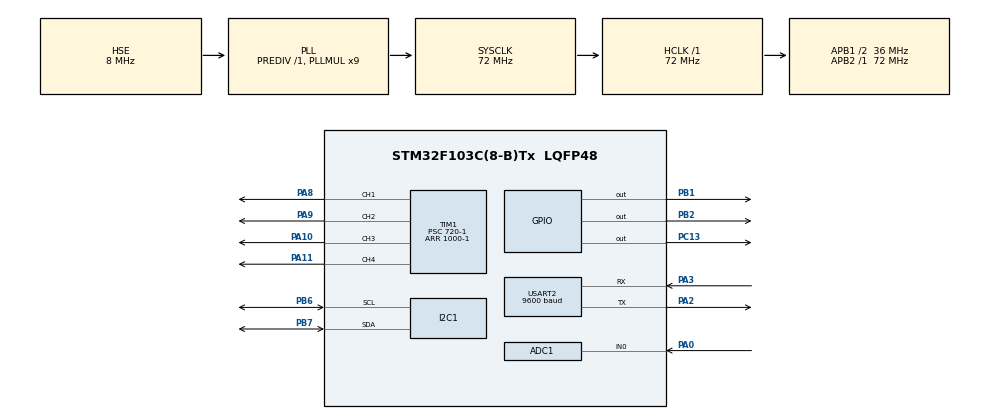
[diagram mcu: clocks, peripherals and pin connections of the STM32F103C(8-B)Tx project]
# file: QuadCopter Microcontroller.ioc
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ADC1.Channel-0\#ChannelRegularConversion=ADC_CHANNEL_0
ADC1.NbrOfConversionFlag=1
ADC1.Rank-0\#ChannelRegularConversion=1
ADC1.SamplingTime-0\#ChannelRegularConversion=ADC_SAMPLETIME_1CYCLE_5
ADC1.master=1
Mcu.Family=STM32F1
Mcu.Name=STM32F103C(8-B)Tx
Mcu.Package=LQFP48
NVIC.ADC1_2_IRQn=true\:0\:0\:false\:false\:true\:true\:true\:true
NVIC.PriorityGroup=NVIC_PRIORITYGROUP_4
NVIC.USART2_IRQn=true\:0\:0\:false\:false\:true\:true\:true\:true
PA0-WKUP.Signal=ADCx_IN0
PA10.Signal=S_TIM1_CH3
PA11.Signal=S_TIM1_CH4
PA2.Mode=Asynchronous
PA2.Signal=USART2_TX
PA3.Mode=Asynchronous
PA3.Signal=USART2_RX
PA8.Signal=S_TIM1_CH1
PA9.Signal=S_TIM1_CH2
PB1.Signal=GPIO_Output
PB2.Signal=GPIO_Output
PB6.Mode=I2C
PB6.Signal=I2C1_SCL
PB7.Mode=I2C
PB7.Signal=I2C1_SDA
PC13-TAMPER-RTC.Signal=GPIO_Output
PD0-OSC_IN.Mode=HSE-External-Oscillator
PD0-OSC_IN.Signal=RCC_OSC_IN
PD1-OSC_OUT.Mode=HSE-External-Oscillator
PD1-OSC_OUT.Signal=RCC_OSC_OUT
ProjectManager.HeapSize=0x200
ProjectManager.StackSize=0x400
ProjectManager.TargetToolchain=MDK-ARM V5.32
RCC.ADCPresc=RCC_ADCPCLK2_DIV6
RCC.AHBFreq_Value=72000000
RCC.APB1CLKDivider=RCC_HCLK_DIV2
RCC.APB1Freq_Value=36000000
RCC.APB1TimFreq_Value=72000000
RCC.APB2Freq_Value=72000000
RCC.APB2TimFreq_Value=72000000
RCC.HCLKFreq_Value=72000000
RCC.PLLMUL=RCC_PLL_MUL9
RCC.PLLSourceVirtual=RCC_PLLSOURCE_HSE
RCC.SYSCLKFreq_VALUE=72000000
RCC.SYSCLKSource=RCC_SYSCLKSOURCE_PLLCLK
RCC.USBFreq_Value=72000000
SH.ADCx_IN0.0=ADC1_IN0,IN0
SH.S_TIM1_CH1.0=TIM1_CH1,PWM Generation1 CH1
SH.S_TIM1_CH2.0=TIM1_CH2,PWM Generation2 CH2
SH.S_TIM1_CH3.0=TIM1_CH3,Output Compare3 CH3
SH.S_TIM1_CH4.0=TIM1_CH4,Output Compare4 CH4
TIM1.Channel-Output\ Compare3\ CH3=TIM_CHANNEL_3
TIM1.Channel-Output\ Compare4\ CH4=TIM_CHANNEL_4
TIM1.Channel-PWM\ Generation1\ CH1=TIM_CHANNEL_1
TIM1.Channel-PWM\ Generation2\ CH2=TIM_CHANNEL_2
TIM1.Period=1000-1
TIM1.Prescaler=720-1
USART2.BaudRate=9600
USART2.VirtualMode=VM_ASYNC
VP_SYS_VS_ND.Mode=No_Debug
VP_TIM1_VS_ClockSourceINT.Mode=Internal
board=custom

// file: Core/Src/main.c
/* USER CODE BEGIN Header */
/**
  ******************************************************************************
  * @file           : main.c
  * @brief          : Main program body
  ******************************************************************************
  * @attention
  *
  * Copyright (c) 2023 STMicroelectronics.
  * All rights reserved.
  *
  * This software is licensed under terms that can be found in the LICENSE file
  * in the root directory of this software component.
  * If no LICENSE file comes with this software, it is provided AS-IS.
  *
  ******************************************************************************
  */
/* USER CODE END Header */
#include "main.h"

/* USER CODE BEGIN Includes */
#include <math.h>
/* USER CODE END Includes */

ADC_HandleTypeDef hadc1;

I2C_HandleTypeDef hi2c1;

TIM_HandleTypeDef htim1;

UART_HandleTypeDef huart2;

void SystemClock_Config(void);
static void MX_GPIO_Init(void);
static void MX_ADC1_Init(void);
static void MX_I2C1_Init(void);
static void MX_TIM1_Init(void);
static void MX_USART2_UART_Init(void);
/* USER CODE BEGIN PFP */
void MPU6050_init(void);
void MPU_GYRO_READ(void);
void MPU_ACCEL_READ(void);
/* USER CODE END PFP */

/* USER CODE BEGIN 0 */

//POWER CONNECTION TEST
int adc_val = 0;
int Power_check = 0;
void HAL_ADC_ConvCpltCallback(ADC_HandleTypeDef* hadc)
{
  adc_val = HAL_ADC_GetValue(&hadc1);
	if (adc_val > 3000){
		Power_check = 1;
	} else{
		Power_check =0;
	}
}

//CONNECTION TO MPU6050
#define MPU6050_ADDR 0xD0
#define SMPLRT_DIV_REG 0x19
#define GYRO_CONFIG_REG 0x1B
#define ACCEL_CONFIG_REG 0x1C
#define ACCEL_XOUT_H_REG 0x3B
#define TEMP_OUT_H_REG 0x41
#define GYRO_XOUT_H_REG 0x43
#define PWR_MGMT_1_REG 0x6B
#define WHO_AM_I_REG 0x75
int16_t Accel_X_RAW = 0;
int16_t Accel_Y_RAW = 0;
int16_t Accel_Z_RAW = 0;
int16_t Gyro_X_RAW = 0;
int16_t Gyro_Y_RAW = 0;
int16_t Gyro_Z_RAW = 0;
float Ax, Ay, Az, Gx, Gy, Gz;
int D1,D2;
float complementary_factor = 0.98;
float time_interval = 0.01;
float pitch = 0;
float roll = 0;
float yaw = 0;
void MPU6050_Init (void)
{
	uint8_t check;
	uint8_t Data;
	HAL_I2C_Mem_Read (&hi2c1, MPU6050_ADDR,WHO_AM_I_REG,1, &check, 1, 1000);
	if (check == 104)
	{
		Data = 0;
		HAL_I2C_Mem_Write(&hi2c1, MPU6050_ADDR, PWR_MGMT_1_REG, 1,&Data, 1, 1000);
		Data = 0x07;
		HAL_I2C_Mem_Write(&hi2c1, MPU6050_ADDR, SMPLRT_DIV_REG, 1, &Data, 1, 1000);
		Data = 0x00;
		HAL_I2C_Mem_Write(&hi2c1, MPU6050_ADDR, ACCEL_CONFIG_REG, 1, &Data, 1, 1000);
		Data = 0x00;
		HAL_I2C_Mem_Write(&hi2c1, MPU6050_ADDR, GYRO_CONFIG_REG, 1, &Data, 1, 1000);
	}

}

//EXTRACTING DATA FROM MPU6050
void MPU6050_Read_Accel (void)
{
	uint8_t Rec_Data[6];
	HAL_I2C_Mem_Read (&hi2c1, MPU6050_ADDR, ACCEL_XOUT_H_REG, 1, Rec_Data, 6, 1000);
	Accel_X_RAW = (int16_t)(Rec_Data[0] << 8 | Rec_Data [1]);
	Accel_Y_RAW = (int16_t)(Rec_Data[2] << 8 | Rec_Data [3]);
	Accel_Z_RAW = (int16_t)(Rec_Data[4] << 8 | Rec_Data [5]);
	Ax = (Accel_X_RAW/16384.0);
	Ay = (Accel_Y_RAW/16384.0);
	Az = (Accel_Z_RAW/16384.0);
	//DEFINING DUTY CYCLES BASED ON MPU6050 DATA
	D1 = (int)(Ax*100);
	D2 = (int)(Ay*100);
}
void MPU6050_Read_Gyro (void)
{
	uint8_t Rec_Data[6];
	HAL_I2C_Mem_Read (&hi2c1, MPU6050_ADDR, GYRO_XOUT_H_REG, 1, Rec_Data, 6, 1000);
	Gyro_X_RAW = (int16_t)(Rec_Data[0] << 8 | Rec_Data [1]);
	Gyro_Y_RAW = (int16_t)(Rec_Data[2] << 8 | Rec_Data [3]);
	Gyro_Z_RAW = (int16_t)(Rec_Data[4] << 8 | Rec_Data [5]);
	Gx = Gyro_X_RAW/131.0;
	Gy = Gyro_Y_RAW/131.0;
	Gz = Gyro_Z_RAW/131.0;
}

//UART CONNECTION USING USB2TTL AND HTERM
unsigned char CMD;
int CMD_flag=3;
void HAL_UART_RxCpltCallback(UART_HandleTypeDef *huart){
	while(!Power_check);
	switch(CMD){
		case 'a':
			CMD_flag=1;
		break;
		case 'b':
			CMD_flag=0;
		break;
		case 'c':
			CMD_flag=3;
		break;
	}
	HAL_UART_Receive_IT(&huart2,&CMD,1);
}

//WORKING WITH TIMER
int i = 0;
void HAL_TIM_PeriodElapsedCallback(TIM_HandleTypeDef *htim)
{
		while(!Power_check);
		i++;
		if(i==1000){
			if (htim->Instance == TIM1)
			{
				switch(CMD_flag){
					case 3:
						HAL_GPIO_WritePin(GPIOB,GPIO_PIN_2,GPIO_PIN_RESET);
						HAL_GPIO_WritePin(GPIOB,GPIO_PIN_1,GPIO_PIN_RESET);
					break;
					case 1:
						HAL_GPIO_TogglePin(GPIOB,GPIO_PIN_2);
						HAL_GPIO_WritePin(GPIOB,GPIO_PIN_1,GPIO_PIN_RESET);
						break;
					case 0:
						HAL_GPIO_TogglePin(GPIOB,GPIO_PIN_1);
						HAL_GPIO_WritePin(GPIOB,GPIO_PIN_2,GPIO_PIN_RESET);
					break;
					}
			}
			i = 0;
		}
}
/* USER CODE END 0 */

int main(void)
{

  /* MCU Configuration--------------------------------------------------------*/

  /* Reset of all peripherals, Initializes the Flash interface and the Systick. */
  HAL_Init();

  /* Configure the system clock */
  SystemClock_Config();

  /* Initialize all configured peripherals */
  MX_GPIO_Init();
  MX_ADC1_Init();
  MX_I2C1_Init();
  MX_TIM1_Init();
  MX_USART2_UART_Init();
  /* USER CODE BEGIN 2 */
	HAL_UART_Receive_IT(&huart2,&CMD,1);
	HAL_TIM_Base_Start_IT(&htim1);
	HAL_TIM_PWM_Start(&htim1,TIM_CHANNEL_1);
	HAL_TIM_PWM_Start(&htim1,TIM_CHANNEL_2);
	HAL_TIM_PWM_Start(&htim1,TIM_CHANNEL_3);
	HAL_TIM_PWM_Start(&htim1,TIM_CHANNEL_4);
	MPU6050_Init();
  /* USER CODE END 2 */

  /* Infinite loop */
  while (1)
  {

    /* USER CODE BEGIN 3 */

		HAL_ADC_Start_IT(&hadc1);
			while(!Power_check);
			HAL_ADC_Start_IT (&hadc1);
			MPU6050_Read_Gyro();
			MPU6050_Read_Accel();
			if(D1>=0){
				TIM1->CCR1 = D1;
				TIM1->CCR2 = 0;
			} else{
				TIM1->CCR1 = 0;
				TIM1->CCR2 = -D1;
			}
			if(D2>=0){
				TIM1->CCR3 = D2;
				TIM1->CCR4 = 0;
			} else{
				TIM1->CCR3 = 0;
				TIM1->CCR4 = -D2;
			}

			// CALCULATING PITCH,ROLL AND YAW
//			pitch = atan2f(-Ax, sqrtf(Ay*Ay + Az*Az));
//			roll = atan2f(Ay, Az);
//			pitch = complementary_factor * (pitch + Gx * time_interval) + (1 - complementary_factor) * atan2f(-Ax, sqrtf(Ay*Ay + Az*Az));
//			roll = complementary_factor * (roll + Gy * time_interval) + (1 - complementary_factor) * atan2f(Ay, Az);
//			yaw = yaw + Gz * time_interval;

	}
  /* USER CODE END 3 */
}

void SystemClock_Config(void)
{
  RCC_OscInitTypeDef RCC_OscInitStruct = {0};
  RCC_ClkInitTypeDef RCC_ClkInitStruct = {0};
  RCC_PeriphCLKInitTypeDef PeriphClkInit = {0};

  /** Initializes the RCC Oscillators according to the specified parameters
  * in the RCC_OscInitTypeDef structure.
  */
  RCC_OscInitStruct.OscillatorType = RCC_OSCILLATORTYPE_HSE;
  RCC_OscInitStruct.HSEState = RCC_HSE_ON;
  RCC_OscInitStruct.HSEPredivValue = RCC_HSE_PREDIV_DIV1;
  RCC_OscInitStruct.HSIState = RCC_HSI_ON;
  RCC_OscInitStruct.PLL.PLLState = RCC_PLL_ON;
  RCC_OscInitStruct.PLL.PLLSource = RCC_PLLSOURCE_HSE;
  RCC_OscInitStruct.PLL.PLLMUL = RCC_PLL_MUL9;
  if (HAL_RCC_OscConfig(&RCC_OscInitStruct) != HAL_OK)
  {
    Error_Handler();
  }

  /** Initializes the CPU, AHB and APB buses clocks
  */
  RCC_ClkInitStruct.ClockType = RCC_CLOCKTYPE_HCLK|RCC_CLOCKTYPE_SYSCLK
                              |RCC_CLOCKTYPE_PCLK1|RCC_CLOCKTYPE_PCLK2;
  RCC_ClkInitStruct.SYSCLKSource = RCC_SYSCLKSOURCE_PLLCLK;
  RCC_ClkInitStruct.AHBCLKDivider = RCC_SYSCLK_DIV1;
  RCC_ClkInitStruct.APB1CLKDivider = RCC_HCLK_DIV2;
  RCC_ClkInitStruct.APB2CLKDivider = RCC_HCLK_DIV1;

  if (HAL_RCC_ClockConfig(&RCC_ClkInitStruct, FLASH_LATENCY_2) != HAL_OK)
  {
    Error_Handler();
  }
  PeriphClkInit.PeriphClockSelection = RCC_PERIPHCLK_ADC;
  PeriphClkInit.AdcClockSelection = RCC_ADCPCLK2_DIV6;
  if (HAL_RCCEx_PeriphCLKConfig(&PeriphClkInit) != HAL_OK)
  {
    Error_Handler();
  }
}

static void MX_ADC1_Init(void)
{

  ADC_ChannelConfTypeDef sConfig = {0};

  /** Common config
  */
  hadc1.Instance = ADC1;
  hadc1.Init.ScanConvMode = ADC_SCAN_DISABLE;
  hadc1.Init.ContinuousConvMode = DISABLE;
  hadc1.Init.DiscontinuousConvMode = DISABLE;
  hadc1.Init.ExternalTrigConv = ADC_SOFTWARE_START;
  hadc1.Init.DataAlign = ADC_DATAALIGN_RIGHT;
  hadc1.Init.NbrOfConversion = 1;
  if (HAL_ADC_Init(&hadc1) != HAL_OK)
  {
    Error_Handler();
  }

  /** Configure Regular Channel
  */
  sConfig.Channel = ADC_CHANNEL_0;
  sConfig.Rank = ADC_REGULAR_RANK_1;
  sConfig.SamplingTime = ADC_SAMPLETIME_1CYCLE_5;
  if (HAL_ADC_ConfigChannel(&hadc1, &sConfig) != HAL_OK)
  {
    Error_Handler();
  }

}

static void MX_I2C1_Init(void)
{

  hi2c1.Instance = I2C1;
  hi2c1.Init.ClockSpeed = 100000;
  hi2c1.Init.DutyCycle = I2C_DUTYCYCLE_2;
  hi2c1.Init.OwnAddress1 = 0;
  hi2c1.Init.AddressingMode = I2C_ADDRESSINGMODE_7BIT;
  hi2c1.Init.DualAddressMode = I2C_DUALADDRESS_DISABLE;
  hi2c1.Init.OwnAddress2 = 0;
  hi2c1.Init.GeneralCallMode = I2C_GENERALCALL_DISABLE;
  hi2c1.Init.NoStretchMode = I2C_NOSTRETCH_DISABLE;
  if (HAL_I2C_Init(&hi2c1) != HAL_OK)
  {
    Error_Handler();
  }

}

static void MX_TIM1_Init(void)
{

  TIM_ClockConfigTypeDef sClockSourceConfig = {0};
  TIM_MasterConfigTypeDef sMasterConfig = {0};
  TIM_OC_InitTypeDef sConfigOC = {0};
  TIM_BreakDeadTimeConfigTypeDef sBreakDeadTimeConfig = {0};

  htim1.Instance = TIM1;
  htim1.Init.Prescaler = 720-1;
  htim1.Init.CounterMode = TIM_COUNTERMODE_UP;
  htim1.Init.Period = 1000-1;
  htim1.Init.ClockDivision = TIM_CLOCKDIVISION_DIV1;
  htim1.Init.RepetitionCounter = 0;
  htim1.Init.AutoReloadPreload = TIM_AUTORELOAD_PRELOAD_DISABLE;
  if (HAL_TIM_Base_Init(&htim1) != HAL_OK)
  {
    Error_Handler();
  }
  sClockSourceConfig.ClockSource = TIM_CLOCKSOURCE_INTERNAL;
  if (HAL_TIM_ConfigClockSource(&htim1, &sClockSourceConfig) != HAL_OK)
  {
    Error_Handler();
  }
  if (HAL_TIM_PWM_Init(&htim1) != HAL_OK)
  {
    Error_Handler();
  }
  if (HAL_TIM_OC_Init(&htim1) != HAL_OK)
  {
    Error_Handler();
  }
  sMasterConfig.MasterOutputTrigger = TIM_TRGO_RESET;
  sMasterConfig.MasterSlaveMode = TIM_MASTERSLAVEMODE_DISABLE;
  if (HAL_TIMEx_MasterConfigSynchronization(&htim1, &sMasterConfig) != HAL_OK)
  {
    Error_Handler();
  }
  sConfigOC.OCMode = TIM_OCMODE_PWM1;
  sConfigOC.Pulse = 0;
  sConfigOC.OCPolarity = TIM_OCPOLARITY_HIGH;
  sConfigOC.OCNPolarity = TIM_OCNPOLARITY_HIGH;
  sConfigOC.OCFastMode = TIM_OCFAST_DISABLE;
  sConfigOC.OCIdleState = TIM_OCIDLESTATE_RESET;
  sConfigOC.OCNIdleState = TIM_OCNIDLESTATE_RESET;
  if (HAL_TIM_PWM_ConfigChannel(&htim1, &sConfigOC, TIM_CHANNEL_1) != HAL_OK)
  {
    Error_Handler();
  }
  if (HAL_TIM_PWM_ConfigChannel(&htim1, &sConfigOC, TIM_CHANNEL_2) != HAL_OK)
  {
    Error_Handler();
  }
  sConfigOC.OCMode = TIM_OCMODE_TIMING;
  if (HAL_TIM_OC_ConfigChannel(&htim1, &sConfigOC, TIM_CHANNEL_3) != HAL_OK)
  {
    Error_Handler();
  }
  if (HAL_TIM_OC_ConfigChannel(&htim1, &sConfigOC, TIM_CHANNEL_4) != HAL_OK)
  {
    Error_Handler();
  }
  sBreakDeadTimeConfig.OffStateRunMode = TIM_OSSR_DISABLE;
  sBreakDeadTimeConfig.OffStateIDLEMode = TIM_OSSI_DISABLE;
  sBreakDeadTimeConfig.LockLevel = TIM_LOCKLEVEL_OFF;
  sBreakDeadTimeConfig.DeadTime = 0;
  sBreakDeadTimeConfig.BreakState = TIM_BREAK_DISABLE;
  sBreakDeadTimeConfig.BreakPolarity = TIM_BREAKPOLARITY_HIGH;
  sBreakDeadTimeConfig.AutomaticOutput = TIM_AUTOMATICOUTPUT_DISABLE;
  if (HAL_TIMEx_ConfigBreakDeadTime(&htim1, &sBreakDeadTimeConfig) != HAL_OK)
  {
    Error_Handler();
  }
  HAL_TIM_MspPostInit(&htim1);

}

static void MX_USART2_UART_Init(void)
{

  huart2.Instance = USART2;
  huart2.Init.BaudRate = 9600;
  huart2.Init.WordLength = UART_WORDLENGTH_8B;
  huart2.Init.StopBits = UART_STOPBITS_1;
  huart2.Init.Parity = UART_PARITY_NONE;
  huart2.Init.Mode = UART_MODE_TX_RX;
  huart2.Init.HwFlowCtl = UART_HWCONTROL_NONE;
  huart2.Init.OverSampling = UART_OVERSAMPLING_16;
  if (HAL_UART_Init(&huart2) != HAL_OK)
  {
    Error_Handler();
  }

}

static void MX_GPIO_Init(void)
{
  GPIO_InitTypeDef GPIO_InitStruct = {0};

  /* GPIO Ports Clock Enable */
  __HAL_RCC_GPIOC_CLK_ENABLE();
  __HAL_RCC_GPIOD_CLK_ENABLE();
  __HAL_RCC_GPIOA_CLK_ENABLE();
  __HAL_RCC_GPIOB_CLK_ENABLE();

  /*Configure GPIO pin Output Level */
  HAL_GPIO_WritePin(GPIOC, GPIO_PIN_13, GPIO_PIN_RESET);

  /*Configure GPIO pin Output Level */
  HAL_GPIO_WritePin(GPIOB, GPIO_PIN_1|GPIO_PIN_2, GPIO_PIN_RESET);

  /*Configure GPIO pin : PC13 */
  GPIO_InitStruct.Pin = GPIO_PIN_13;
  GPIO_InitStruct.Mode = GPIO_MODE_OUTPUT_PP;
  GPIO_InitStruct.Pull = GPIO_NOPULL;
  GPIO_InitStruct.Speed = GPIO_SPEED_FREQ_LOW;
  HAL_GPIO_Init(GPIOC, &GPIO_InitStruct);

  /*Configure GPIO pins : PB1 PB2 */
  GPIO_InitStruct.Pin = GPIO_PIN_1|GPIO_PIN_2;
  GPIO_InitStruct.Mode = GPIO_MODE_OUTPUT_PP;
  GPIO_InitStruct.Pull = GPIO_NOPULL;
  GPIO_InitStruct.Speed = GPIO_SPEED_FREQ_LOW;
  HAL_GPIO_Init(GPIOB, &GPIO_InitStruct);

}

void Error_Handler(void)
{
  __disable_irq();
  while (1)
  {
  }
}
